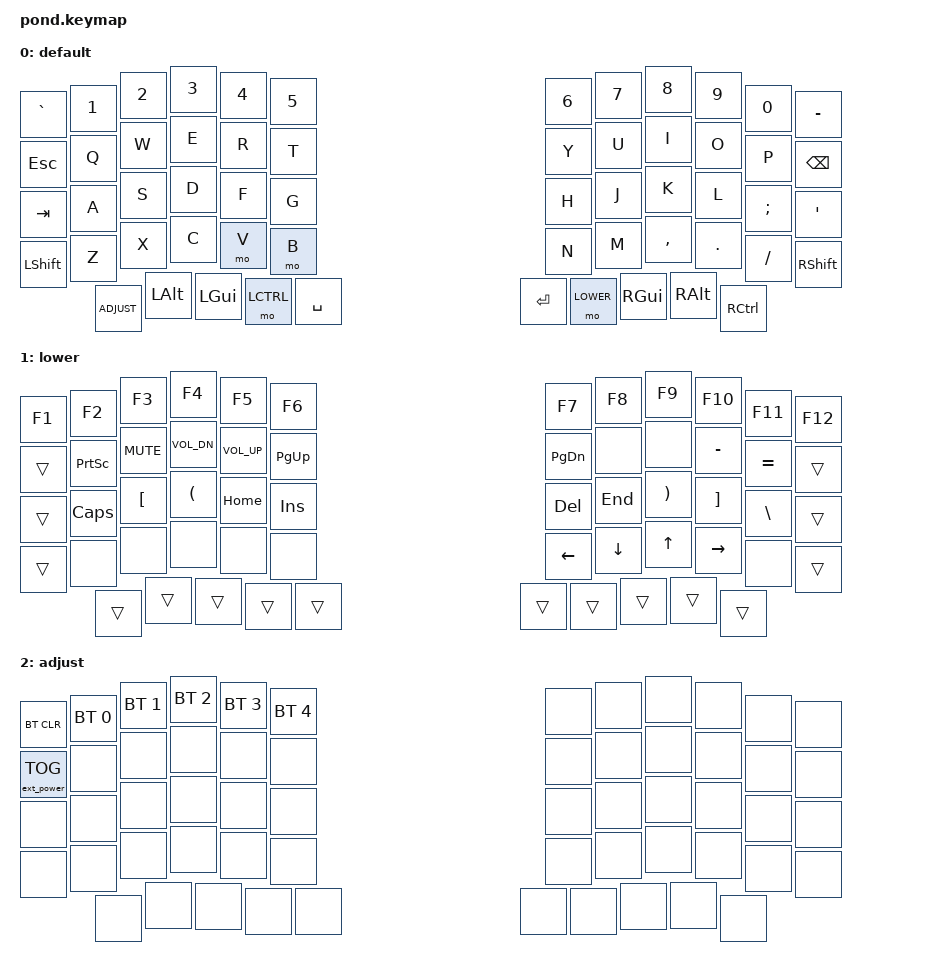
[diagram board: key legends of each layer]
/*
 * Copyright (c) 2020 The ZMK Contributors
 *
 * SPDX-License-Identifier: MIT
 */

#include <behaviors.dtsi>
#include <dt-bindings/zmk/keys.h>
#include <dt-bindings/zmk/bt.h>
#include <dt-bindings/zmk/ext_power.h>

#define BASE 0
#define LOWER 1
#define ADJUST 2

/ {
    keymap {
        compatible = "zmk,keymap";

        default_layer {
            display-name = "default";
            bindings = <
&kp GRAVE &kp N1 &kp N2        &kp N3   &kp N4    &kp N5                           &kp N6     &kp N7    &kp N8    &kp N9   &kp N0   &kp MINUS
&kp ESC   &kp Q  &kp W         &kp E    &kp R     &kp T                            &kp Y      &kp U     &kp I     &kp O    &kp P    &kp BSPC
&kp TAB   &kp A  &kp S         &kp D    &kp F     &kp G                            &kp H      &kp J     &kp K     &kp L    &kp SEMI &kp SQT
&kp LSHFT &kp Z  &kp X         &kp C    &mo V     &mo B                            &kp N      &kp M     &kp COMMA &kp DOT  &kp FSLH &kp RSHFT
                 &kp ADJUST    &kp LALT &kp LGUI  &mo LCTRL  &kp SPACE     &kp RET &mo LOWER  &kp RGUI  &kp RALT  &kp RCTRL
            >;
        };

        lower_layer {
            display-name = "lower";
            bindings = <
&kp F1    &kp F2    &kp F3     &kp F4       &kp F5       &kp F6                   &kp F7     &kp F8   &kp F9    &kp F10   &kp F11   &kp F12
&trans    &kp PSCRN &kp K_MUTE &kp K_VOL_DN &kp K_VOL_UP &kp PG_UP                &kp PG_DN  &none    &none     &kp MINUS &kp EQUAL &trans
&trans    &kp CAPS  &kp LBKT   &kp LPAR     &kp HOME     &kp INSERT               &kp DELETE &kp END  &kp RPAR  &kp RBKT  &kp BSLH  &trans
&trans    &none     &none      &none        &none        &none                    &kp LEFT   &kp DOWN &kp UP    &kp RIGHT &none     &trans
                    &trans     &trans       &trans       &trans    &trans  &trans &trans     &trans   &trans    &trans
            >;
        };

        adjust_layer {
// ----------------------------------------------------------------------------------------------------------------------------
// | BTCLR  |  BT1    |  BT2    |   BT3   |   BT4   |   BT5   |                  |      |      |       |      |       |       |
// | EXTPWR | RGB_HUD | RGB_HUI | RGB_SAD | RGB_SAI | RGB_EFF |                  |      |      |       |      |       |       |
// |        | RGB_BRD | RGB_BRI |         |         |         |                  |      |      |       |      |       |       |
// |        |         |         |         |         |         | RGB_TOG | |      |      |      |       |      |       |       |
//                    |         |         |         |         |         | |      |      |      |       |      |
            display-name = "adjust";
            bindings = <
&bt BT_CLR        &bt BT_SEL 0    &bt BT_SEL 1    &bt BT_SEL 2    &bt BT_SEL 3    &bt BT_SEL 4                            &none &none &none &none &none &none
&ext_power EP_TOG &none           &none           &none           &none           &none                                   &none &none &none &none &none &none
&none             &none           &none           &none           &none           &none                                   &none &none &none &none &none &none
&none             &none           &none           &none           &none           &none                                   &none &none &none &none &none &none
                                  &none           &none           &none           &none            &none           &none  &none &none &none &none
            >;
        };

    };
};
